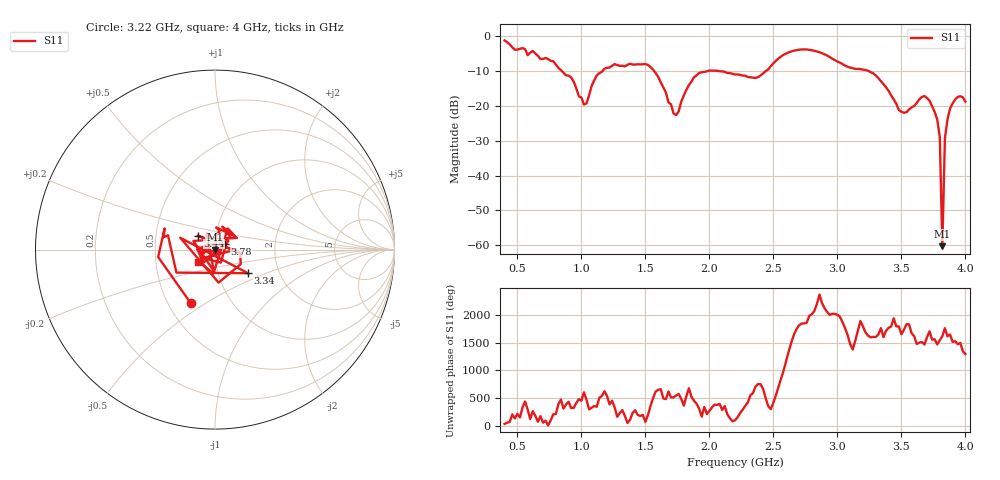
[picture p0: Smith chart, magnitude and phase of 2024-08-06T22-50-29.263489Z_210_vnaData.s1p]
!Created with skrf (http://scikit-rf.org).
# Hz S RI R 50.0
!freq ReS11 ImS11
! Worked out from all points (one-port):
!   181 points, 400 MHz to 4 GHz, reference 50 ohm
!   lowest |S11| = -60.3 dB at 3.82 GHz (marker M1), VSWR 1.00, Z = 49.9 + j0.00206 ohm
!   |S11| at or under -10 dB: 1.568 GHz to 1.987 GHz (418.2 MHz wide, 23.5 % of centre); 2.073 GHz to 2.44 GHz (367.3 MHz wide, 16.3 % of centre); 3.244 GHz to end of sweep (the widest 3 of 4)
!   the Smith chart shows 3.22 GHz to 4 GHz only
!   S11 on the Smith chart (normalised r, x): 3.22 GHz: 0.65, -0.43; 3.34 GHz: 1.39, -0.38; 3.44 GHz: 0.81, +0.13; 3.78 GHz: 1.11, +0.07; 4 GHz: 0.82, -0.11
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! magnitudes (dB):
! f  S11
! 400 MHz  -1.2
! 860 MHz  -10.5
! 920 MHz  -11.8
! 1.02 GHz  -19.6
! 1.12 GHz  -11.2
! 1.3 GHz  -8.5
! 1.52 GHz  -8.2
! 1.6 GHz  -11.7
! 1.72 GHz  -22.2
! 1.76 GHz  -21.6
! 1.92 GHz  -10.5
! 2.2 GHz  -11.0
! 2.38 GHz  -11.8
! 2.66 GHz  -4.1
! 3.1 GHz  -9.0
! 3.22 GHz  -9.7
! 3.34 GHz  -12.9
! 3.44 GHz  -18.1
! 3.5 GHz  -21.7
! 3.56 GHz  -21.0
! 3.68 GHz  -17.2
! 3.78 GHz  -23.9
! 3.8 GHz  -29.0
! 3.82 GHz  -60.3
! 3.84 GHz  -29.2
! 3.86 GHz  -23.9
! 3.92 GHz  -18.2
! 4 GHz  -18.8
